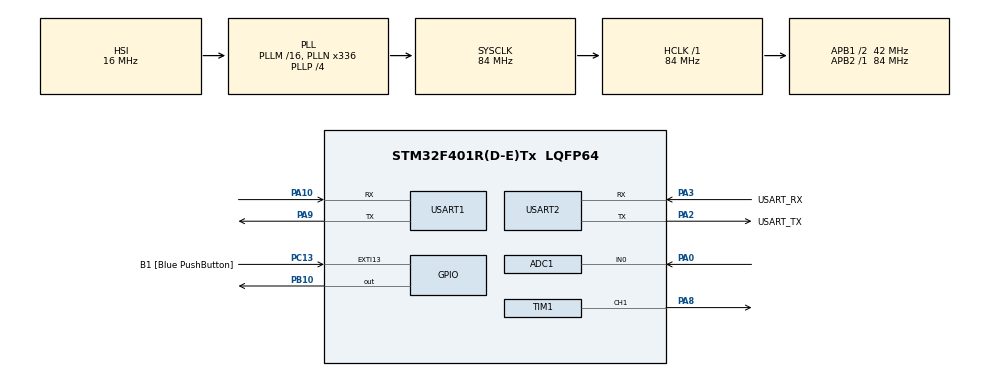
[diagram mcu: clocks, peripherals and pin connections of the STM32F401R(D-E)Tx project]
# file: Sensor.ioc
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ADC1.Channel-0\#ChannelRegularConversion=ADC_CHANNEL_0
ADC1.ContinuousConvMode=ENABLE
ADC1.EOCSelection=ADC_EOC_SEQ_CONV
ADC1.NbrOfConversionFlag=1
ADC1.Rank-0\#ChannelRegularConversion=1
ADC1.SamplingTime-0\#ChannelRegularConversion=ADC_SAMPLETIME_3CYCLES
ADC1.master=1
Mcu.Family=STM32F4
Mcu.Name=STM32F401R(D-E)Tx
Mcu.Package=LQFP64
NVIC.EXTI15_10_IRQn=true\:0\:0\:false\:false\:true\:true\:true\:true
NVIC.PriorityGroup=NVIC_PRIORITYGROUP_0
NVIC.TIM2_IRQn=true\:0\:0\:false\:false\:true\:true\:true\:true
PA0-WKUP.Signal=SharedAnalog_PA0
PA10.Mode=Asynchronous
PA10.Signal=USART1_RX
PA13.GPIO_Label=TMS
PA13.Mode=Serial_Wire
PA13.Signal=SYS_JTMS-SWDIO
PA14.GPIO_Label=TCK
PA14.Mode=Serial_Wire
PA14.Signal=SYS_JTCK-SWCLK
PA2.GPIO_Label=USART_TX
PA2.GPIO_Mode=GPIO_MODE_AF_PP
PA2.GPIO_PuPd=GPIO_NOPULL
PA2.GPIO_Speed=GPIO_SPEED_FREQ_LOW
PA2.Mode=Asynchronous
PA2.Signal=USART2_TX
PA3.GPIO_Label=USART_RX
PA3.GPIO_Mode=GPIO_MODE_AF_PP
PA3.GPIO_PuPd=GPIO_NOPULL
PA3.GPIO_Speed=GPIO_SPEED_FREQ_LOW
PA3.Mode=Asynchronous
PA3.Signal=USART2_RX
PA5.Signal=SPI1_SCK
PA8.Signal=S_TIM1_CH1
PA9.Mode=Asynchronous
PA9.Signal=USART1_TX
PB10.Signal=GPIO_Output
PB3.GPIO_Label=SWO
PB3.Signal=SYS_JTDO-SWO
PC13-ANTI_TAMP.GPIO_Label=B1 [Blue PushButton]
PC13-ANTI_TAMP.GPIO_ModeDefaultEXTI=GPIO_MODE_IT_FALLING
PC13-ANTI_TAMP.GPIO_PuPd=GPIO_NOPULL
PC13-ANTI_TAMP.Signal=GPXTI13
PC14-OSC32_IN.Mode=LSE-External-Oscillator
PC14-OSC32_IN.Signal=RCC_OSC32_IN
PC15-OSC32_OUT.Mode=LSE-External-Oscillator
PC15-OSC32_OUT.Signal=RCC_OSC32_OUT
PH0\ -\ OSC_IN.Mode=HSE-External-Clock-Source
PH0\ -\ OSC_IN.Signal=RCC_OSC_IN
PH1\ -\ OSC_OUT.Mode=HSE-External-Clock-Source
PH1\ -\ OSC_OUT.Signal=RCC_OSC_OUT
ProjectManager.HeapSize=0x200
ProjectManager.StackSize=0x400
ProjectManager.TargetToolchain=STM32CubeIDE
RCC.48MHZClocksFreq_Value=48000000
RCC.AHBFreq_Value=84000000
RCC.APB1CLKDivider=RCC_HCLK_DIV2
RCC.APB1Freq_Value=42000000
RCC.APB1TimFreq_Value=84000000
RCC.APB2Freq_Value=84000000
RCC.APB2TimFreq_Value=84000000
RCC.CortexFreq_Value=84000000
RCC.HCLKFreq_Value=84000000
RCC.HSE_VALUE=8000000
RCC.HSI_VALUE=16000000
RCC.PLLN=336
RCC.PLLP=RCC_PLLP_DIV4
RCC.PLLQ=7
RCC.SYSCLKFreq_VALUE=84000000
RCC.SYSCLKSource=RCC_SYSCLKSOURCE_PLLCLK
RCC.VCOOutputFreq_Value=336000000
SH.S_TIM1_CH1.0=TIM1_CH1,PWM Generation1 CH1
SH.SharedAnalog_PA0.0=GPIO_Analog
SH.SharedAnalog_PA0.1=ADC1_IN0,IN0
TIM1.Channel-PWM\ Generation1\ CH1=TIM_CHANNEL_1
TIM1.Period=10000-1
TIM1.Prescaler=84-1
TIM1.Pulse-PWM\ Generation1\ CH1=320
TIM1.TIM_MasterOutputTrigger=TIM_TRGO_UPDATE
TIM2.Period=277-1
TIM2.Prescaler=84-1
USART1.VirtualMode=VM_ASYNC
USART2.VirtualMode=VM_ASYNC
VP_TIM1_VS_ClockSourceINT.Mode=Internal
VP_TIM2_VS_ClockSourceINT.Mode=Internal
VP_TIM2_VS_ClockSourceITR.Mode=TriggerSource_ITR0
VP_TIM2_VS_ControllerModeTrigger.Mode=Trigger Mode
VP_TIM2_VS_OPM.Mode=OPM_bit
board=NUCLEO-F401RE

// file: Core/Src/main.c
/* USER CODE BEGIN Header */
/**
  ******************************************************************************
  * @file           : main.c
  * @brief          : Main program body
  ******************************************************************************
  * @attention
  *
  * Copyright (c) 2024 STMicroelectronics.
  * All rights reserved.
  *
  * This software is licensed under terms that can be found in the LICENSE file
  * in the root directory of this software component.
  * If no LICENSE file comes with this software, it is provided AS-IS.
  *
  ******************************************************************************
  */
/* USER CODE END Header */
#include "main.h"

/* USER CODE BEGIN Includes */
#include <stdio.h>
#include <stdbool.h>
#include <string.h>
/* USER CODE END Includes */

ADC_HandleTypeDef hadc1;

TIM_HandleTypeDef htim1;
TIM_HandleTypeDef htim2;

UART_HandleTypeDef huart1;
UART_HandleTypeDef huart2;

void SystemClock_Config(void);
static void MX_GPIO_Init(void);
static void MX_USART2_UART_Init(void);
static void MX_TIM1_Init(void);
static void MX_TIM2_Init(void);
static void MX_ADC1_Init(void);
static void MX_USART1_UART_Init(void);

/* USER CODE BEGIN 0 */
uint8_t TxAddress[] = {0xEE, 0XDD, 0XCC, 0XBB, 0xAA};
uint16_t total_dust = 0;
uint8_t * tx_buf = (uint8_t *)&total_dust;
int num_measurements = 0;
bool is_testing = false;
/* USER CODE END 0 */

int main(void)
{

  /* MCU Configuration--------------------------------------------------------*/

  /* Reset of all peripherals, Initializes the Flash interface and the Systick. */
  HAL_Init();

  /* Configure the system clock */
  SystemClock_Config();

  /* Initialize all configured peripherals */
  MX_GPIO_Init();
  MX_USART2_UART_Init();
  MX_TIM1_Init();
  MX_TIM2_Init();
  MX_ADC1_Init();
  MX_USART1_UART_Init();
  /* USER CODE BEGIN 2 */
  HAL_TIM_Base_Start_IT(&htim2);
  HAL_Delay(500);
  HAL_TIM_PWM_Start(&htim1, TIM_CHANNEL_3);

  HAL_ADC_Start(&hadc1);
  /* USER CODE END 2 */

  /* Infinite loop */
  while (1)
  {

  }
}

void SystemClock_Config(void)
{
  RCC_OscInitTypeDef RCC_OscInitStruct = {0};
  RCC_ClkInitTypeDef RCC_ClkInitStruct = {0};

  /** Configure the main internal regulator output voltage
  */
  __HAL_RCC_PWR_CLK_ENABLE();
  __HAL_PWR_VOLTAGESCALING_CONFIG(PWR_REGULATOR_VOLTAGE_SCALE2);

  /** Initializes the RCC Oscillators according to the specified parameters
  * in the RCC_OscInitTypeDef structure.
  */
  RCC_OscInitStruct.OscillatorType = RCC_OSCILLATORTYPE_HSI;
  RCC_OscInitStruct.HSIState = RCC_HSI_ON;
  RCC_OscInitStruct.HSICalibrationValue = RCC_HSICALIBRATION_DEFAULT;
  RCC_OscInitStruct.PLL.PLLState = RCC_PLL_ON;
  RCC_OscInitStruct.PLL.PLLSource = RCC_PLLSOURCE_HSI;
  RCC_OscInitStruct.PLL.PLLM = 16;
  RCC_OscInitStruct.PLL.PLLN = 336;
  RCC_OscInitStruct.PLL.PLLP = RCC_PLLP_DIV4;
  RCC_OscInitStruct.PLL.PLLQ = 7;
  if (HAL_RCC_OscConfig(&RCC_OscInitStruct) != HAL_OK)
  {
    Error_Handler();
  }

  /** Initializes the CPU, AHB and APB buses clocks
  */
  RCC_ClkInitStruct.ClockType = RCC_CLOCKTYPE_HCLK|RCC_CLOCKTYPE_SYSCLK
                              |RCC_CLOCKTYPE_PCLK1|RCC_CLOCKTYPE_PCLK2;
  RCC_ClkInitStruct.SYSCLKSource = RCC_SYSCLKSOURCE_PLLCLK;
  RCC_ClkInitStruct.AHBCLKDivider = RCC_SYSCLK_DIV1;
  RCC_ClkInitStruct.APB1CLKDivider = RCC_HCLK_DIV2;
  RCC_ClkInitStruct.APB2CLKDivider = RCC_HCLK_DIV1;

  if (HAL_RCC_ClockConfig(&RCC_ClkInitStruct, FLASH_LATENCY_2) != HAL_OK)
  {
    Error_Handler();
  }
}

static void MX_ADC1_Init(void)
{

  ADC_ChannelConfTypeDef sConfig = {0};

  /** Configure the global features of the ADC (Clock, Resolution, Data Alignment and number of conversion)
  */
  hadc1.Instance = ADC1;
  hadc1.Init.ClockPrescaler = ADC_CLOCK_SYNC_PCLK_DIV4;
  hadc1.Init.Resolution = ADC_RESOLUTION_12B;
  hadc1.Init.ScanConvMode = DISABLE;
  hadc1.Init.ContinuousConvMode = ENABLE;
  hadc1.Init.DiscontinuousConvMode = DISABLE;
  hadc1.Init.ExternalTrigConvEdge = ADC_EXTERNALTRIGCONVEDGE_NONE;
  hadc1.Init.ExternalTrigConv = ADC_SOFTWARE_START;
  hadc1.Init.DataAlign = ADC_DATAALIGN_RIGHT;
  hadc1.Init.NbrOfConversion = 1;
  hadc1.Init.DMAContinuousRequests = DISABLE;
  hadc1.Init.EOCSelection = ADC_EOC_SEQ_CONV;
  if (HAL_ADC_Init(&hadc1) != HAL_OK)
  {
    Error_Handler();
  }

  /** Configure for the selected ADC regular channel its corresponding rank in the sequencer and its sample time.
  */
  sConfig.Channel = ADC_CHANNEL_0;
  sConfig.Rank = 1;
  sConfig.SamplingTime = ADC_SAMPLETIME_3CYCLES;
  if (HAL_ADC_ConfigChannel(&hadc1, &sConfig) != HAL_OK)
  {
    Error_Handler();
  }

}

static void MX_TIM1_Init(void)
{

  TIM_ClockConfigTypeDef sClockSourceConfig = {0};
  TIM_MasterConfigTypeDef sMasterConfig = {0};
  TIM_OC_InitTypeDef sConfigOC = {0};
  TIM_BreakDeadTimeConfigTypeDef sBreakDeadTimeConfig = {0};

  htim1.Instance = TIM1;
  htim1.Init.Prescaler = 84-1;
  htim1.Init.CounterMode = TIM_COUNTERMODE_UP;
  htim1.Init.Period = 10000-1;
  htim1.Init.ClockDivision = TIM_CLOCKDIVISION_DIV1;
  htim1.Init.RepetitionCounter = 0;
  htim1.Init.AutoReloadPreload = TIM_AUTORELOAD_PRELOAD_DISABLE;
  if (HAL_TIM_Base_Init(&htim1) != HAL_OK)
  {
    Error_Handler();
  }
  sClockSourceConfig.ClockSource = TIM_CLOCKSOURCE_INTERNAL;
  if (HAL_TIM_ConfigClockSource(&htim1, &sClockSourceConfig) != HAL_OK)
  {
    Error_Handler();
  }
  if (HAL_TIM_PWM_Init(&htim1) != HAL_OK)
  {
    Error_Handler();
  }
  sMasterConfig.MasterOutputTrigger = TIM_TRGO_UPDATE;
  sMasterConfig.MasterSlaveMode = TIM_MASTERSLAVEMODE_DISABLE;
  if (HAL_TIMEx_MasterConfigSynchronization(&htim1, &sMasterConfig) != HAL_OK)
  {
    Error_Handler();
  }
  sConfigOC.OCMode = TIM_OCMODE_PWM1;
  sConfigOC.Pulse = 320;
  sConfigOC.OCPolarity = TIM_OCPOLARITY_HIGH;
  sConfigOC.OCNPolarity = TIM_OCNPOLARITY_HIGH;
  sConfigOC.OCFastMode = TIM_OCFAST_DISABLE;
  sConfigOC.OCIdleState = TIM_OCIDLESTATE_RESET;
  sConfigOC.OCNIdleState = TIM_OCNIDLESTATE_RESET;
  if (HAL_TIM_PWM_ConfigChannel(&htim1, &sConfigOC, TIM_CHANNEL_1) != HAL_OK)
  {
    Error_Handler();
  }
  sBreakDeadTimeConfig.OffStateRunMode = TIM_OSSR_DISABLE;
  sBreakDeadTimeConfig.OffStateIDLEMode = TIM_OSSI_DISABLE;
  sBreakDeadTimeConfig.LockLevel = TIM_LOCKLEVEL_OFF;
  sBreakDeadTimeConfig.DeadTime = 0;
  sBreakDeadTimeConfig.BreakState = TIM_BREAK_DISABLE;
  sBreakDeadTimeConfig.BreakPolarity = TIM_BREAKPOLARITY_HIGH;
  sBreakDeadTimeConfig.AutomaticOutput = TIM_AUTOMATICOUTPUT_DISABLE;
  if (HAL_TIMEx_ConfigBreakDeadTime(&htim1, &sBreakDeadTimeConfig) != HAL_OK)
  {
    Error_Handler();
  }
  HAL_TIM_MspPostInit(&htim1);

}

static void MX_TIM2_Init(void)
{

  TIM_ClockConfigTypeDef sClockSourceConfig = {0};
  TIM_SlaveConfigTypeDef sSlaveConfig = {0};
  TIM_MasterConfigTypeDef sMasterConfig = {0};

  htim2.Instance = TIM2;
  htim2.Init.Prescaler = 84-1;
  htim2.Init.CounterMode = TIM_COUNTERMODE_UP;
  htim2.Init.Period = 277-1;
  htim2.Init.ClockDivision = TIM_CLOCKDIVISION_DIV1;
  htim2.Init.AutoReloadPreload = TIM_AUTORELOAD_PRELOAD_DISABLE;
  if (HAL_TIM_Base_Init(&htim2) != HAL_OK)
  {
    Error_Handler();
  }
  sClockSourceConfig.ClockSource = TIM_CLOCKSOURCE_INTERNAL;
  if (HAL_TIM_ConfigClockSource(&htim2, &sClockSourceConfig) != HAL_OK)
  {
    Error_Handler();
  }
  if (HAL_TIM_OnePulse_Init(&htim2, TIM_OPMODE_SINGLE) != HAL_OK)
  {
    Error_Handler();
  }
  sSlaveConfig.SlaveMode = TIM_SLAVEMODE_TRIGGER;
  sSlaveConfig.InputTrigger = TIM_TS_ITR0;
  if (HAL_TIM_SlaveConfigSynchro(&htim2, &sSlaveConfig) != HAL_OK)
  {
    Error_Handler();
  }
  sMasterConfig.MasterOutputTrigger = TIM_TRGO_RESET;
  sMasterConfig.MasterSlaveMode = TIM_MASTERSLAVEMODE_DISABLE;
  if (HAL_TIMEx_MasterConfigSynchronization(&htim2, &sMasterConfig) != HAL_OK)
  {
    Error_Handler();
  }

}

static void MX_USART1_UART_Init(void)
{

  huart1.Instance = USART1;
  huart1.Init.BaudRate = 115200;
  huart1.Init.WordLength = UART_WORDLENGTH_8B;
  huart1.Init.StopBits = UART_STOPBITS_1;
  huart1.Init.Parity = UART_PARITY_NONE;
  huart1.Init.Mode = UART_MODE_TX_RX;
  huart1.Init.HwFlowCtl = UART_HWCONTROL_NONE;
  huart1.Init.OverSampling = UART_OVERSAMPLING_16;
  if (HAL_UART_Init(&huart1) != HAL_OK)
  {
    Error_Handler();
  }

}

static void MX_USART2_UART_Init(void)
{

  huart2.Instance = USART2;
  huart2.Init.BaudRate = 115200;
  huart2.Init.WordLength = UART_WORDLENGTH_8B;
  huart2.Init.StopBits = UART_STOPBITS_1;
  huart2.Init.Parity = UART_PARITY_NONE;
  huart2.Init.Mode = UART_MODE_TX_RX;
  huart2.Init.HwFlowCtl = UART_HWCONTROL_NONE;
  huart2.Init.OverSampling = UART_OVERSAMPLING_16;
  if (HAL_UART_Init(&huart2) != HAL_OK)
  {
    Error_Handler();
  }

}

static void MX_GPIO_Init(void)
{
  GPIO_InitTypeDef GPIO_InitStruct = {0};

  /* GPIO Ports Clock Enable */
  __HAL_RCC_GPIOC_CLK_ENABLE();
  __HAL_RCC_GPIOH_CLK_ENABLE();
  __HAL_RCC_GPIOA_CLK_ENABLE();
  __HAL_RCC_GPIOB_CLK_ENABLE();

  /*Configure GPIO pin Output Level */
  HAL_GPIO_WritePin(GPIOB, GPIO_PIN_10, GPIO_PIN_RESET);

  /*Configure GPIO pin : B1_Pin */
  GPIO_InitStruct.Pin = B1_Pin;
  GPIO_InitStruct.Mode = GPIO_MODE_IT_FALLING;
  GPIO_InitStruct.Pull = GPIO_NOPULL;
  HAL_GPIO_Init(B1_GPIO_Port, &GPIO_InitStruct);

  /*Configure GPIO pin : PA5 */
  GPIO_InitStruct.Pin = GPIO_PIN_5;
  GPIO_InitStruct.Mode = GPIO_MODE_AF_PP;
  GPIO_InitStruct.Pull = GPIO_NOPULL;
  GPIO_InitStruct.Speed = GPIO_SPEED_FREQ_VERY_HIGH;
  GPIO_InitStruct.Alternate = GPIO_AF5_SPI1;
  HAL_GPIO_Init(GPIOA, &GPIO_InitStruct);

  /*Configure GPIO pin : PB10 */
  GPIO_InitStruct.Pin = GPIO_PIN_10;
  GPIO_InitStruct.Mode = GPIO_MODE_OUTPUT_PP;
  GPIO_InitStruct.Pull = GPIO_NOPULL;
  GPIO_InitStruct.Speed = GPIO_SPEED_FREQ_LOW;
  HAL_GPIO_Init(GPIOB, &GPIO_InitStruct);

  /* EXTI interrupt init*/
  HAL_NVIC_SetPriority(EXTI15_10_IRQn, 0, 0);
  HAL_NVIC_EnableIRQ(EXTI15_10_IRQn);

}

/* USER CODE BEGIN 4 */
void HAL_TIM_PeriodElapsedCallback(TIM_HandleTypeDef *htim){
	if(htim->Instance == TIM2){
		HAL_ADC_PollForConversion(&hadc1, HAL_MAX_DELAY);
		//Read ADC value
		uint16_t ADC_Value = HAL_ADC_GetValue(&hadc1);
		uint16_t dust = 170*33*ADC_Value/(4096 * 10);
		total_dust += dust;
		num_measurements++;
		if (num_measurements == 100){
			if (!is_testing){
				total_dust /= num_measurements;
				HAL_UART_Transmit(&huart1, tx_buf, 2, 100);
				total_dust = 0;
				num_measurements = 0;
			}
			else{
				uint16_t msg = 0xffff;
				uint8_t * data = (uint8_t *)&msg;
				HAL_UART_Transmit(&huart1, data, 2, 100);
				is_testing = false;
				total_dust = 0;
				num_measurements = 0;
			}
		}
	}
}

void HAL_GPIO_EXTI_Callback(uint16_t GPIO_Pin)
{
	is_testing = true;
}
/* USER CODE END 4 */

void Error_Handler(void)
{
  __disable_irq();
  while (1)
  {
  }
}
